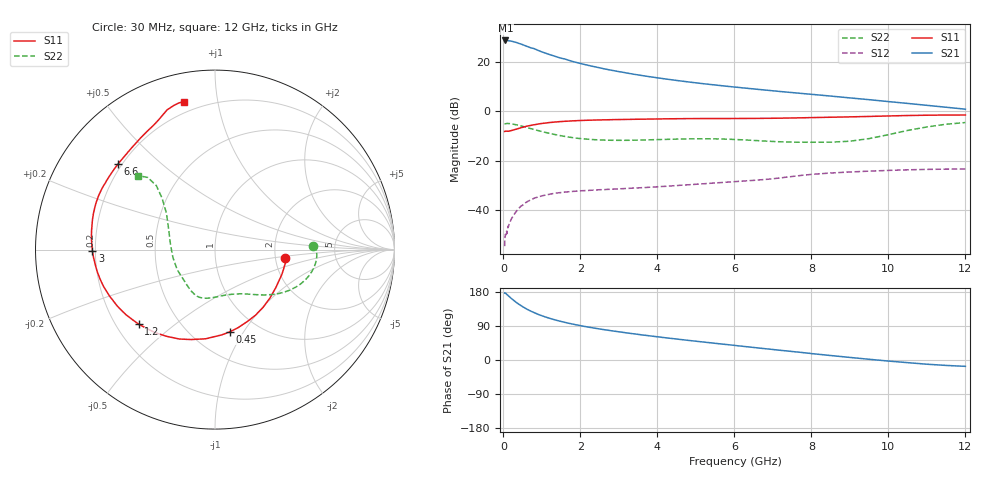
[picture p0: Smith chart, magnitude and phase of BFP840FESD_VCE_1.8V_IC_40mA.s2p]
! Infineon Technologies  Discrete & RF Semiconductors
! BFP840FESD
! VCE =  1.8 V,  IC =  40 mA
! Common Emitter S-Parameters:  May 2012
# GHz  S  MA  R  50
!  f  S11  S21  S12  S22
! GHz  MAG  ANG  MAG  ANG  MAG  ANG  MAG  ANG
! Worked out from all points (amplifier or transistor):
!   103 points, 30 MHz to 12 GHz, reference 50 ohm
!   highest |S21| = 28.6 dB at 50 MHz (marker M1)
!   |S21| within 3 dB of that: start of sweep to 722.9 MHz
!   unconditionally stable (mu >= 1): start of sweep to 536.1 MHz; 1.673 GHz to end of sweep
!   at 400 MHz: K = 1.13, MAG = 31.1 dB, |S12| = -39.1 dB
!   at 3.7 GHz: K = 1.51, MAG = 18.3 dB, |S12| = -30.8 dB
!   at 12 GHz: K = 1.61, MAG = 7.5 dB, |S12| = -23.3 dB
!   S11 on the Smith chart (normalised r, x): 30 MHz: 2.25, -0.26; 450 MHz: 0.75, -0.87; 1.2 GHz: 0.29, -0.38; 3 GHz: 0.19, -0.01; 6.6 GHz: 0.19, +0.37; 12 GHz: 0.14, +0.80
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0.03  0.3921 -7.1  26.69 176.8  0.0019 50.0  0.5465 2.2
0.04  0.3924 -9.2  26.64 176.0  0.0028 51.8  0.5553 1.3
0.05  0.3994 -11.0  26.93 176.7  0.0033 61.0  0.5604 0.5
0.15  0.3997 -31.9  26.44 167.4  0.0053 61.7  0.566 -7.3
0.25  0.4189 -50.3  25.55 158.7  0.0077 59.1  0.5516 -13.3
0.35  0.44 -66.2  24.36 150.8  0.0099 59.2  0.531 -18.5
0.45  0.4652 -79.5  22.84 143.9  0.0121 56.5  0.5084 -22.9
0.6  0.4997 -96.0  20.59 134.7  0.0148 53.2  0.4731 -28.6
0.7  0.5183 -104.8  19.27 129.5  0.0162 50.6  0.4502 -31.9
0.8  0.5365 -111.8  18.38 124.9  0.0177 48.5  0.4287 -35.0
1  0.5695 -125.5  15.81 116.7  0.0197 44.3  0.3906 -40.1
1.2  0.5945 -135.6  13.97 110.0  0.0212 41.4  0.3588 -44.7
1.4  0.6142 -143.7  12.46 104.2  0.0225 39.0  0.3325 -48.9
1.6  0.6293 -150.2  11.35 99.2  0.0235 37.2  0.3111 -53.0
2.1  0.6574 -163.7  8.847 88.7  0.0251 34.8  0.2776 -63.0
3  0.6828 -179.3  6.322 74.4  0.0273 34.7  0.2599 -79.0
4.1  0.7033 165.9  4.629 60.0  0.0304 37.6  0.27 -95.0
6.1  0.7167 144.3  3.043 37.4  0.0385 42.1  0.2683 -118.4
6.6  0.7203 138.6  2.78 32.0  0.0411 43.1  0.2562 -125.7
8.5  0.7602 119.7  2.032 11.8  0.0569 39.4  0.2385 -169.4
10.5  0.8231 108.9  1.444 -7.0  0.066 30.0  0.4114 135.8
12  0.8429 101.8  1.105 -16.8  0.0685 25.8  0.5936 136.0
